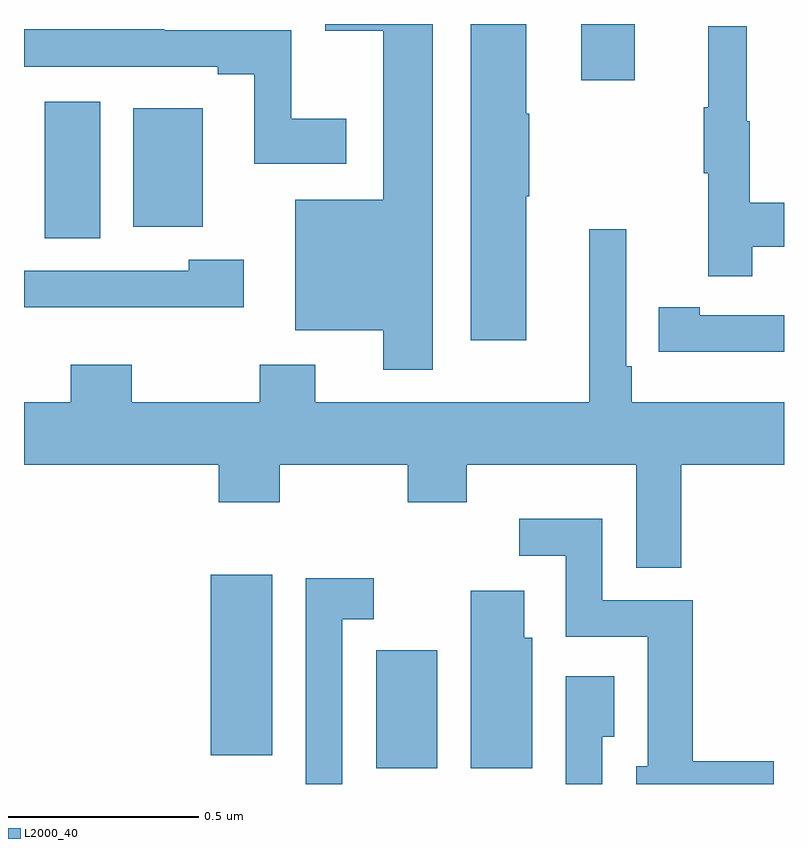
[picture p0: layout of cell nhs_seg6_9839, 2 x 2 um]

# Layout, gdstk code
import gdstk
lib = gdstk.Library(unit=1e-6, precision=1e-09)
def R(c, l, rs):  # rectangles x0, y0, x1, y1
    for r in rs: c.add(gdstk.rectangle(r[:2], r[2:], *l))
def P(c, l, *ps):  # polygons
    for p in ps: c.add(gdstk.Polygon(p, *l))
L2000_40 = (2000, 40)

nhs_seg6_9839 = lib.new_cell('nhs_seg6_9839')
R(nhs_seg6_9839, L2000_40, [(239.927,942.541,240.088,942.852), (239.492,942.576,239.653,943.051), (239.054,943.936,239.2,944.296), (239.288,943.967,239.47,944.278), (240.467,944.352,240.607,944.5)])
P(nhs_seg6_9839, L2000_40, [(240.322,944.047),(240.33,944.047),(240.33,944.264),(240.322,944.264),(240.322,944.5),(240.176,944.5),(240.176,943.668),(240.322,943.668)],
  [(240.076,944.5),(239.793,944.5),(239.793,944.482),(239.945,944.482),(239.945,944.038),(239.714,944.038),(239.714,943.694),(239.945,943.694),(239.945,943.59),(240.076,943.59)],
  [(240.917,943.914),(241,943.914),(241,944.03),(240.91,944.03),(240.91,944.244),(240.902,944.244),(240.902,944.494),(240.8,944.494),(240.8,944.281),(240.789,944.281),(240.789,944.107),(240.8,944.107),(240.8,943.836),(240.917,943.836)],
  [(239.848,944.251),(239.703,944.251),(239.703,944.484),(239.369,944.484),(239.369,944.486),(239,944.486),(239,944.388),(239.51,944.388),(239.51,944.368),(239.606,944.368),(239.606,944.132),(239.848,944.132)],
  [(240.73,943.34),(241,943.34),(241,943.504),(240.599,943.504),(240.599,943.6),(240.585,943.6),(240.585,943.96),(240.488,943.96),(240.488,943.504),(239.767,943.504),(239.767,943.603),(239.62,943.603),(239.62,943.504),(239.283,943.504),(239.283,943.603),(239.123,943.603),(239.123,943.504),(239,943.504),(239,943.34),(239.513,943.34),(239.513,943.241),(239.673,943.241),(239.673,943.34),(240.01,943.34),(240.01,943.241),(240.165,943.241),(240.165,943.34),(240.611,943.34),(240.611,943.069),(240.73,943.069)],
  [(239.578,943.879),(239.433,943.879),(239.433,943.851),(239,943.851),(239,943.754),(239.578,943.754)],
  [(241,943.734),(240.778,943.734),(240.778,943.754),(240.67,943.754),(240.67,943.638),(240.778,943.638),(240.778,943.637),(241,943.637)],
  [(240.973,942.56),(240.76,942.56),(240.76,942.984),(240.522,942.984),(240.522,943.198),(240.303,943.198),(240.303,943.101),(240.426,943.101),(240.426,942.888),(240.641,942.888),(240.641,942.547),(240.611,942.547),(240.611,942.5),(240.973,942.5)],
  [(239.838,942.933),(239.92,942.933),(239.92,943.042),(239.742,943.042),(239.742,942.5),(239.838,942.5)],
  [(240.337,942.885),(240.316,942.885),(240.316,943.009),(240.176,943.009),(240.176,942.541),(240.337,942.541)],
  [(240.522,942.625),(240.553,942.625),(240.553,942.784),(240.426,942.784),(240.426,942.5),(240.522,942.5)])

lib.write_gds('nhs_seg6_9839.gds')
